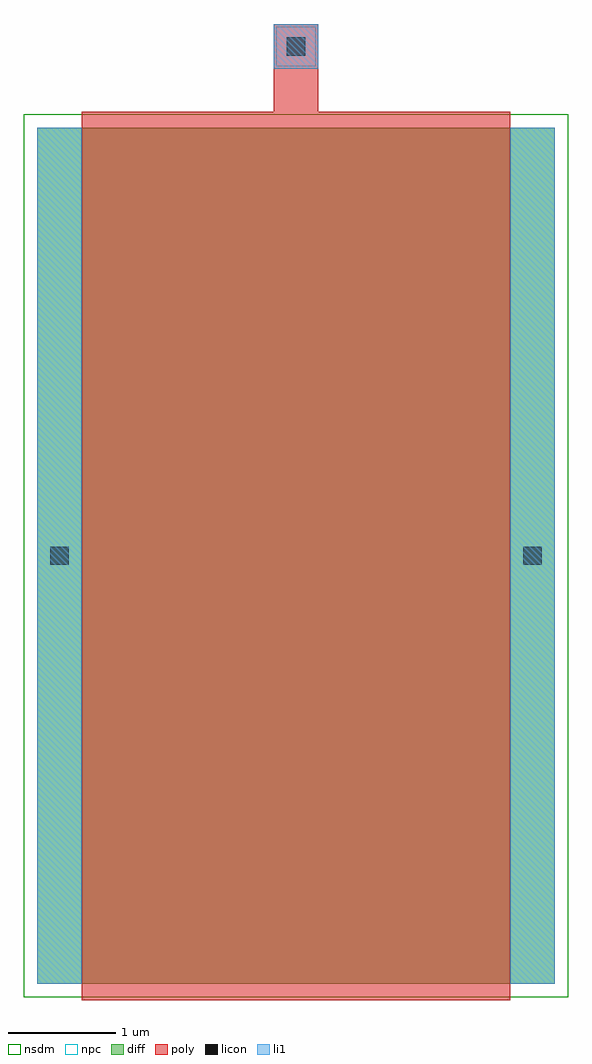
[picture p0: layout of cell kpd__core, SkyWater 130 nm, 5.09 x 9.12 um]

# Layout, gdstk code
import gdstk
lib = gdstk.Library(unit=1e-6, precision=1e-09)
def R(c, l, rs):  # rectangles x0, y0, x1, y1
    for r in rs: c.add(gdstk.rectangle(r[:2], r[2:], *l))
diff = (65, 20)
poly = (66, 20)
licon = (66, 44)
li1 = (67, 20)
nsdm = (93, 44)
npc = (95, 20)

kpd__core = lib.new_cell('kpd__core')
R(kpd__core, diff, [(0,0,4.84,8)])
R(kpd__core, poly, [(0.42,-0.15,4.42,8), (0.42,8,4.42,8.15), (0.42,8,4.42,8.15), (2.21,8.15,2.63,8.97)])
R(kpd__core, licon, [(0.125,3.915,0.295,4.085), (4.545,3.915,4.715,4.085), (2.335,8.675,2.505,8.845)])
R(kpd__core, li1, [(0,0,0.42,8), (4.42,0,4.84,8), (2.21,8.55,2.63,8.97)])
R(kpd__core, nsdm, [(-0.125,-0.125,4.965,8.125)])
R(kpd__core, npc, [(2.235,8.575,2.605,8.945)])

lib.write_gds('kpd__core.gds')
